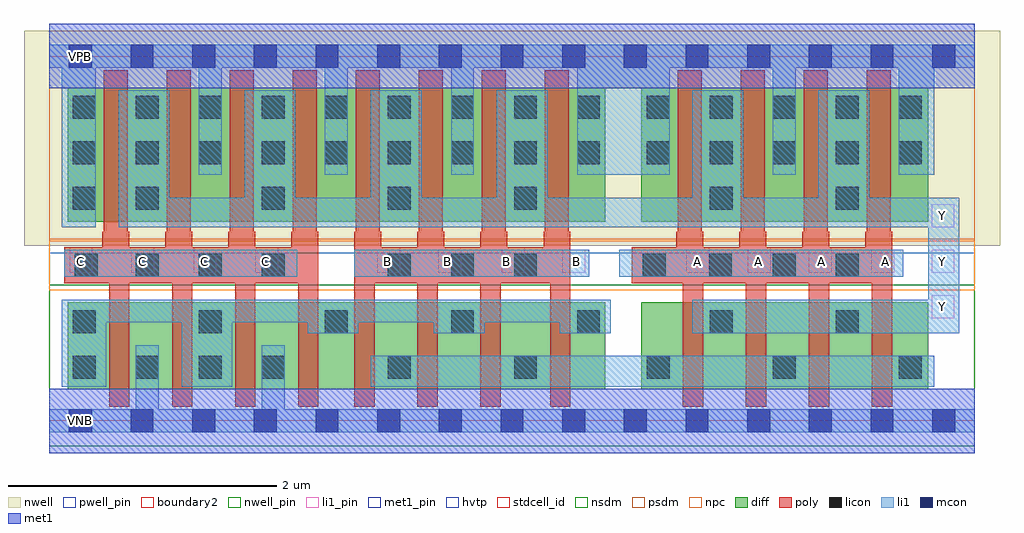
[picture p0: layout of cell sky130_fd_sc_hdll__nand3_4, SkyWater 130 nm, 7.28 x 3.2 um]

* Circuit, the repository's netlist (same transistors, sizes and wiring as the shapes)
* Copyright 2020 The SkyWater PDK Authors
*
* Licensed under the Apache License, Version 2.0 (the "License");
* you may not use this file except in compliance with the License.
* You may obtain a copy of the License at
*
*     https://www.apache.org/licenses/LICENSE-2.0
*
* Unless required by applicable law or agreed to in writing, software
* distributed under the License is distributed on an "AS IS" BASIS,
* WITHOUT WARRANTIES OR CONDITIONS OF ANY KIND, either express or implied.
* See the License for the specific language governing permissions and
* limitations under the License.
*
* SPDX-License-Identifier: Apache-2.0

.SUBCKT sky130_fd_sc_hdll__nand3_4 A B C VGND VNB VPB VPWR Y
*.PININFO A:I B:I C:I VGND:I VNB:I VPB:I VPWR:I Y:O
MMP0 Y A VPWR VPB sky130_fd_pr__pfet_01v8_hvt m=4 w=1.0U l=0.18U mult=1 sa=0.265
+ sb=0.265 sd=0.28 area=0.063 perim=1.14
MMP1 Y B VPWR VPB sky130_fd_pr__pfet_01v8_hvt m=4 w=1.0U l=0.18U mult=1 sa=0.265
+ sb=0.265 sd=0.28 area=0.063 perim=1.14
MMP2 Y C VPWR VPB sky130_fd_pr__pfet_01v8_hvt m=4 w=1.0U l=0.18U mult=1 sa=0.265
+ sb=0.265 sd=0.28 area=0.063 perim=1.14
MMN0 Y A sndA VNB sky130_fd_pr__nfet_01v8 m=4 w=0.65U l=0.15U mult=1 sa=0.265 sb=0.265
+ sd=0.28 area=0.063 perim=1.14
MMN1 sndA B sndB VNB sky130_fd_pr__nfet_01v8 m=4 w=0.65U l=0.15U mult=1 sa=0.265
+ sb=0.265 sd=0.28 area=0.063 perim=1.14
MMN2 sndB C VGND VNB sky130_fd_pr__nfet_01v8 m=4 w=0.65U l=0.15U mult=1 sa=0.265
+ sb=0.265 sd=0.28 area=0.063 perim=1.14
.ENDS sky130_fd_sc_hdll__nand3_4

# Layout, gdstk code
import gdstk
lib = gdstk.Library(unit=1e-6, precision=1e-09)
def R(c, l, rs):  # rectangles x0, y0, x1, y1
    for r in rs: c.add(gdstk.rectangle(r[:2], r[2:], *l))
def A(c, l, x, y, w, h, nx, ny, dx, dy):  # array of equal rectangles
    R(c, l, [(x+i*dx, y+j*dy, x+i*dx+w, y+j*dy+h) for i in range(nx) for j in range(ny)])
def P(c, l, *ps):  # polygons
    for p in ps: c.add(gdstk.Polygon(p, *l))
nwell_pin = (64, 16)
nwell = (64, 20)
diff = (65, 20)
poly = (66, 20)
licon = (66, 44)
li1_pin = (67, 16)
li1 = (67, 20)
mcon = (67, 44)
met1_pin = (68, 16)
met1 = (68, 20)
hvtp = (78, 44)
stdcell_id = (81, 4)
nsdm = (93, 44)
psdm = (94, 20)
npc = (95, 20)
pwell_pin = (122, 16)
boundary2 = (236, 0)

sky130_fd_sc_hdll__nand3 = lib.new_cell('sky130_fd_sc_hdll__nand3_4')
R(sky130_fd_sc_hdll__nand3, nwell_pin, [(0.15,2.635,0.32,2.805)])
R(sky130_fd_sc_hdll__nand3, nwell, [(-0.19,1.305,7.09,2.91)])
R(sky130_fd_sc_hdll__nand3, diff, [(0.135,0.235,4.145,0.885), (4.415,0.235,6.555,0.885), (0.135,1.485,4.145,2.485), (4.415,1.485,6.555,2.485)])
P(sky130_fd_sc_hdll__nand3, poly, [(2.005,1.41),(1.995,1.41),(1.995,2.615),(1.815,2.615),(1.815,1.41),(1.805,1.41),(1.805,1.295),(1.535,1.295),(1.535,1.41),(1.525,1.41),(1.525,2.615),(1.345,2.615),(1.345,1.41),(1.335,1.41),(1.335,1.295),(1.065,1.295),(1.065,1.41),(1.055,1.41),(1.055,2.615),(0.875,2.615),(0.875,1.41),(0.865,1.41),(0.865,1.295),(0.595,1.295),(0.595,1.41),(0.585,1.41),(0.585,2.615),(0.405,2.615),(0.405,1.41),(0.395,1.41),(0.395,1.295),(0.11,1.295),(0.11,1.025),(0.445,1.025),(0.445,0.105),(0.595,0.105),(0.595,1.025),(0.915,1.025),(0.915,0.105),(1.065,0.105),(1.065,1.025),(1.385,1.025),(1.385,0.105),(1.535,0.105),(1.535,1.025),(1.855,1.025),(1.855,0.105),(2.005,0.105)],
  [(3.885,1.41),(3.875,1.41),(3.875,2.615),(3.695,2.615),(3.695,1.41),(3.685,1.41),(3.685,1.295),(3.415,1.295),(3.415,1.41),(3.405,1.41),(3.405,2.615),(3.225,2.615),(3.225,1.41),(3.215,1.41),(3.215,1.295),(2.945,1.295),(2.945,1.41),(2.935,1.41),(2.935,2.615),(2.755,2.615),(2.755,1.41),(2.745,1.41),(2.745,1.295),(2.475,1.295),(2.475,1.41),(2.465,1.41),(2.465,2.615),(2.285,2.615),(2.285,1.41),(2.275,1.41),(2.275,0.105),(2.425,0.105),(2.425,1.025),(2.745,1.025),(2.745,0.105),(2.895,0.105),(2.895,1.025),(3.215,1.025),(3.215,0.105),(3.365,0.105),(3.365,1.025),(3.735,1.025),(3.735,0.105),(3.885,0.105)],
  [(6.285,1.41),(6.275,1.41),(6.275,2.615),(6.095,2.615),(6.095,1.41),(6.085,1.41),(6.085,1.295),(5.815,1.295),(5.815,1.41),(5.805,1.41),(5.805,2.615),(5.625,2.615),(5.625,1.41),(5.615,1.41),(5.615,1.295),(5.345,1.295),(5.345,1.41),(5.335,1.41),(5.335,2.615),(5.155,2.615),(5.155,1.41),(5.145,1.41),(5.145,1.295),(4.875,1.295),(4.875,1.41),(4.865,1.41),(4.865,2.615),(4.685,2.615),(4.685,1.41),(4.675,1.41),(4.675,1.295),(4.345,1.295),(4.345,1.025),(4.725,1.025),(4.725,0.105),(4.875,0.105),(4.875,1.025),(5.195,1.025),(5.195,0.105),(5.345,0.105),(5.345,1.025),(5.665,1.025),(5.665,0.105),(5.815,0.105),(5.815,1.025),(6.135,1.025),(6.135,0.105),(6.285,0.105)])
A(sky130_fd_sc_hdll__nand3, licon, 0.175, 0.315, 0.17, 0.17, 4, 1, 0.47, 0)
A(sky130_fd_sc_hdll__nand3, licon, 4.455, 0.315, 0.17, 0.17, 3, 1, 0.94, 0)
A(sky130_fd_sc_hdll__nand3, licon, 0.175, 0.655, 0.17, 0.17, 5, 1, 0.94, 0)
A(sky130_fd_sc_hdll__nand3, licon, 0.645, 1.075, 0.17, 0.17, 3, 1, 0.47, 0)
A(sky130_fd_sc_hdll__nand3, licon, 2.525, 1.075, 0.17, 0.17, 3, 1, 0.47, 0)
A(sky130_fd_sc_hdll__nand3, licon, 0.645, 1.575, 0.17, 0.17, 4, 1, 0.94, 0)
A(sky130_fd_sc_hdll__nand3, licon, 0.175, 1.915, 0.17, 0.17, 9, 2, 0.47, 0.34)
A(sky130_fd_sc_hdll__nand3, licon, 4.455, 1.915, 0.17, 0.17, 5, 2, 0.47, 0.34)
R(sky130_fd_sc_hdll__nand3, licon, [(2.525,0.315,2.695,0.485), (3.465,0.315,3.635,0.485), (4.925,0.655,5.095,0.825), (5.865,0.655,6.035,0.825), (0.19,1.075,0.36,1.245), (4.425,1.075,4.595,1.245), (4.92,1.075,5.09,1.245), (5.395,1.075,5.565,1.245), (5.865,1.075,6.035,1.245), (0.175,1.575,0.345,1.745), (4.925,1.575,5.095,1.745), (5.865,1.575,6.035,1.745)])
A(sky130_fd_sc_hdll__nand3, li1_pin, 6.58, 0.765, 0.17, 0.17, 1, 3, 0, 0.34)
R(sky130_fd_sc_hdll__nand3, li1_pin, [(0.15,1.105,0.32,1.275), (0.61,1.105,0.78,1.275), (1.075,1.105,1.245,1.275), (1.535,1.105,1.705,1.275), (2.445,1.105,2.615,1.275), (2.9,1.105,3.07,1.275), (3.375,1.105,3.545,1.275), (3.825,1.105,3.995,1.275), (4.75,1.105,4.92,1.275), (5.21,1.105,5.38,1.275), (5.665,1.105,5.835,1.275), (6.13,1.105,6.3,1.275)])
R(sky130_fd_sc_hdll__nand3, li1, [(2.395,0.255,6.6,0.485), (0.11,1.075,1.85,1.275), (2.275,1.075,4.025,1.275), (4.25,1.075,6.37,1.275)])
P(sky130_fd_sc_hdll__nand3, li1, [(6.9,0.085),(1.755,0.085),(1.755,0.565),(1.585,0.565),(1.585,0.085),(0.815,0.085),(0.815,0.565),(0.645,0.565),(0.645,0.085),(0,0.085),(0,-0.085),(6.9,-0.085)],
  [(6.9,2.805),(0,2.805),(0,2.635),(0.09,2.635),(0.09,1.445),(0.345,1.445),(0.345,2.635),(1.115,2.635),(1.115,1.835),(1.285,1.835),(1.285,2.635),(2.055,2.635),(2.055,1.835),(2.225,1.835),(2.225,2.635),(2.995,2.635),(2.995,1.835),(3.165,1.835),(3.165,2.635),(3.935,2.635),(3.935,1.835),(4.625,1.835),(4.625,2.635),(5.395,2.635),(5.395,1.835),(5.565,1.835),(5.565,2.635),(6.335,2.635),(6.335,1.835),(6.6,1.835),(6.6,2.635),(6.9,2.635)],
  [(6.785,1.665),(6.115,1.665),(6.115,2.465),(5.735,2.465),(5.735,1.665),(5.175,1.665),(5.175,2.465),(4.795,2.465),(4.795,1.665),(3.715,1.665),(3.715,2.465),(3.335,2.465),(3.335,1.665),(2.775,1.665),(2.775,2.465),(2.395,2.465),(2.395,1.665),(1.835,1.665),(1.835,2.465),(1.455,2.465),(1.455,1.665),(0.895,1.665),(0.895,2.465),(0.515,2.465),(0.515,1.445),(6.555,1.445),(6.555,0.905),(4.795,0.905),(4.795,0.655),(6.785,0.655)],
  [(4.185,0.905),(0.09,0.905),(0.09,0.255),(0.425,0.255),(0.425,0.735),(0.985,0.735),(0.985,0.255),(1.365,0.255),(1.365,0.735),(1.925,0.735),(1.925,0.655),(2.305,0.655),(2.305,0.735),(2.865,0.735),(2.865,0.655),(3.245,0.655),(3.245,0.735),(3.805,0.735),(3.805,0.655),(4.185,0.655)])
A(sky130_fd_sc_hdll__nand3, mcon, 0.145, -0.085, 0.17, 0.17, 15, 2, 0.46, 2.72)
R(sky130_fd_sc_hdll__nand3, met1_pin, [(0.15,-0.085,0.32,0.085), (0.15,2.635,0.32,2.805)])
R(sky130_fd_sc_hdll__nand3, met1, [(0,-0.24,6.9,0.24), (0,2.48,6.9,2.96)])
R(sky130_fd_sc_hdll__nand3, hvtp, [(0,1.25,6.9,2.72)])
R(sky130_fd_sc_hdll__nand3, stdcell_id, [(0,0,6.9,2.72)])
R(sky130_fd_sc_hdll__nand3, nsdm, [(0,-0.19,6.9,1.015)])
R(sky130_fd_sc_hdll__nand3, psdm, [(0,1.355,6.9,2.91)])
R(sky130_fd_sc_hdll__nand3, npc, [(0,0.975,6.9,1.345)])
R(sky130_fd_sc_hdll__nand3, pwell_pin, [(0.15,-0.085,0.32,0.085)])
R(sky130_fd_sc_hdll__nand3, boundary2, [(0,0,6.9,2.72)])
sky130_fd_sc_hdll__nand3.add(gdstk.Label('Y', (6.66,0.85), layer=67, texttype=5))
sky130_fd_sc_hdll__nand3.add(gdstk.Label('Y', (6.66,1.19), layer=67, texttype=5))
sky130_fd_sc_hdll__nand3.add(gdstk.Label('Y', (6.66,1.53), layer=67, texttype=5))
sky130_fd_sc_hdll__nand3.add(gdstk.Label('A', (6.235,1.19), layer=67, texttype=5))
sky130_fd_sc_hdll__nand3.add(gdstk.Label('A', (5.755,1.19), layer=67, texttype=5))
sky130_fd_sc_hdll__nand3.add(gdstk.Label('A', (4.835,1.19), layer=67, texttype=5))
sky130_fd_sc_hdll__nand3.add(gdstk.Label('B', (3.93,1.19), layer=67, texttype=5))
sky130_fd_sc_hdll__nand3.add(gdstk.Label('B', (3.41,1.19), layer=67, texttype=5))
sky130_fd_sc_hdll__nand3.add(gdstk.Label('B', (2.97,1.19), layer=67, texttype=5))
sky130_fd_sc_hdll__nand3.add(gdstk.Label('B', (2.525,1.19), layer=67, texttype=5))
sky130_fd_sc_hdll__nand3.add(gdstk.Label('C', (1.615,1.19), layer=67, texttype=5))
sky130_fd_sc_hdll__nand3.add(gdstk.Label('C', (1.155,1.19), layer=67, texttype=5))
sky130_fd_sc_hdll__nand3.add(gdstk.Label('C', (0.695,1.19), layer=67, texttype=5))
sky130_fd_sc_hdll__nand3.add(gdstk.Label('A', (5.29,1.19), layer=67, texttype=5))
sky130_fd_sc_hdll__nand3.add(gdstk.Label('C', (0.235,1.19), layer=67, texttype=5))
sky130_fd_sc_hdll__nand3.add(gdstk.Label('VNB', (0.235,0), layer=64, texttype=59))
sky130_fd_sc_hdll__nand3.add(gdstk.Label('VPB', (0.235,2.72), layer=64, texttype=5))
sky130_fd_sc_hdll__nand3.add(gdstk.Label('VGND', (0.23,0), layer=68, texttype=5))
sky130_fd_sc_hdll__nand3.add(gdstk.Label('VPWR', (0.235,2.72), layer=68, texttype=5))
sky130_fd_sc_hdll__nand3.add(gdstk.Label('nand3_4', (0,0), layer=83, texttype=44))

lib.write_gds('sky130_fd_sc_hdll__nand3_4.gds')
